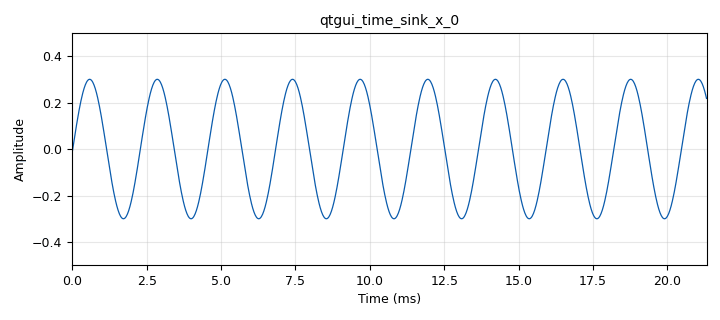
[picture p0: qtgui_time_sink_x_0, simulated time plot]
options:
  parameters:
    generate_options: qt_gui
    id: fg_ch02_001
    output_language: python
    title: FG-CH02-001
  states: {}

blocks:
- name: samp_rate
  id: variable
  parameters:
    value: '48000'
  states: {}
- name: analog_sig_source_x_0
  id: analog_sig_source_x
  parameters:
    amp: '0.3'
    freq: '440'
    offset: '0'
    phase: '0'
    samp_rate: samp_rate
    type: float
    waveform: analog.GR_SIN_WAVE
  states: {}
- name: audio_sink_0
  id: audio_sink
  parameters:
    device_name: '""'
    samp_rate: samp_rate
  states: {}
- name: qtgui_time_sink_x_0
  id: qtgui_time_sink_x
  parameters:
    entags: 'False'
    grid: 'True'
    legend: 'False'
    size: '1024'
    srate: samp_rate
    tr_mode: qtgui.TRIG_MODE_AUTO
    type: float
    ymax: '0.5'
    ymin: '-0.5'
  states: {}

connections:
- [analog_sig_source_x_0, '0', audio_sink_0, '0']
- [analog_sig_source_x_0, '0', qtgui_time_sink_x_0, '0']

metadata:
  file_format: 1
  grc_version: 3.10.12.0
